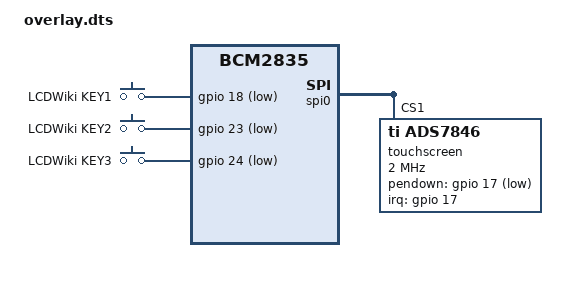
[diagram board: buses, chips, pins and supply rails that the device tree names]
/dts-v1/;
/plugin/;

/*
 * LCDWiki MPI2801 2.8-inch board support.
 *
 * SPI0 CE1: XPT2046 / ADS7846-compatible resistive touch controller
 * GPIO18/23/24: KEY1/KEY2/KEY3 exposed through Linux gpio-keys
 */

/ {
    compatible = "brcm,bcm2712", "brcm,bcm2835";

    fragment@0 {
        target = <&spi0>;
        __overlay__ {
            #address-cells = <1>;
            #size-cells = <0>;

            touchscreen@1 {
                compatible = "ti,ads7846";
                reg = <1>;
                spi-max-frequency = <2000000>;

                interrupt-parent = <&gpio>;
                interrupts = <17 2>;
                pendown-gpio = <&gpio 17 1>;

                ti,x-plate-ohms = /bits/ 16 <60>;
                ti,pressure-max = /bits/ 16 <255>;

                touchscreen-swapped-x-y;
                touchscreen-inverted-y;

                status = "okay";
            };
        };
    };

    fragment@1 {
        target = <&gpio>;
        __overlay__ {
            lcdwiki_button_pins: lcdwiki-button-pins {
                function = "gpio";
                pins = "gpio18", "gpio23", "gpio24";
                bias-pull-up;
            };
        };
    };

    fragment@2 {
        target-path = "/";
        __overlay__ {
            lcdwiki_buttons: lcdwiki-buttons {
                compatible = "gpio-keys";
                pinctrl-names = "default";
                pinctrl-0 = <&lcdwiki_button_pins>;

                key1 {
                    label = "LCDWiki KEY1";
                    linux,code = <148>; /* KEY_PROG1 */
                    gpios = <&gpio 18 1>; /* GPIO_ACTIVE_LOW */
                    debounce-interval = <20>;
                };

                key2 {
                    label = "LCDWiki KEY2";
                    linux,code = <149>; /* KEY_PROG2 */
                    gpios = <&gpio 23 1>; /* GPIO_ACTIVE_LOW */
                    debounce-interval = <20>;
                };

                key3 {
                    label = "LCDWiki KEY3";
                    linux,code = <202>; /* KEY_PROG3 */
                    gpios = <&gpio 24 1>; /* GPIO_ACTIVE_LOW */
                    debounce-interval = <20>;
                };
            };
        };
    };
};
